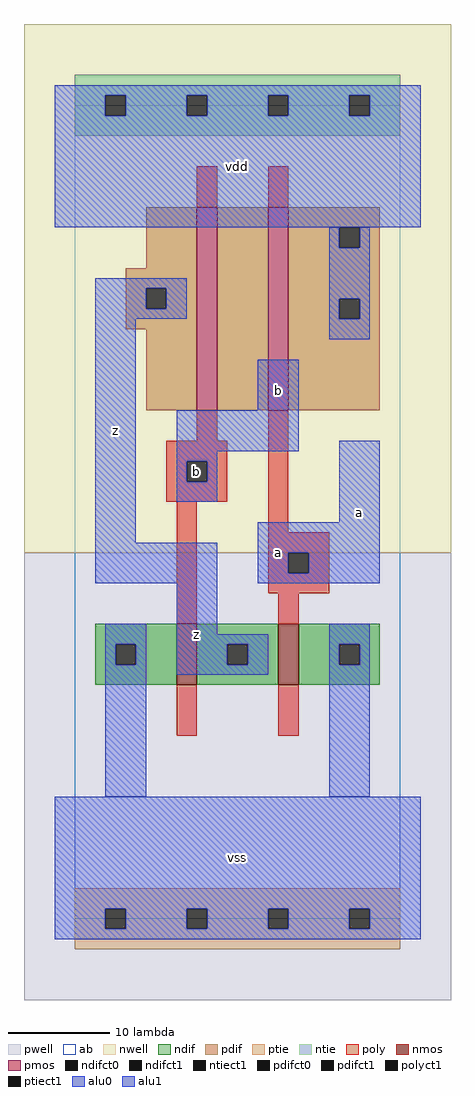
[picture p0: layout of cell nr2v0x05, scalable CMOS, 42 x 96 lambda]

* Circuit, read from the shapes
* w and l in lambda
.subckt nr2v0x05 a b vdd vss z
M1 z b vss vss nfet w=6 l=2
M2 vss a z vss nfet w=6 l=2
M3 n1 b z vdd pfet w=20 l=2
M4 vdd a n1 vdd pfet w=20 l=2
.ends

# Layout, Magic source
magic
tech scmos
<< ab >>
rect 0 0 32 80
<< nwell >>
rect -5 36 37 88
<< pwell >>
rect -5 -8 37 36
<< poly >>
rect 12 70 14 74
rect 19 70 21 74
rect 12 47 14 50
rect 9 45 15 47
rect 9 43 11 45
rect 13 43 15 45
rect 9 41 15 43
rect 10 29 12 41
rect 19 38 21 50
rect 19 36 25 38
rect 19 34 21 36
rect 23 34 25 36
rect 19 32 25 34
rect 20 29 22 32
rect 10 18 12 23
rect 20 18 22 23
<< ndif >>
rect 2 27 10 29
rect 2 25 4 27
rect 6 25 10 27
rect 2 23 10 25
rect 12 27 20 29
rect 12 25 15 27
rect 17 25 20 27
rect 12 23 20 25
rect 22 27 30 29
rect 22 25 26 27
rect 28 25 30 27
rect 22 23 30 25
<< pdif >>
rect 7 64 12 70
rect 5 62 12 64
rect 5 60 7 62
rect 9 60 12 62
rect 5 58 12 60
rect 7 50 12 58
rect 14 50 19 70
rect 21 68 30 70
rect 21 66 26 68
rect 28 66 30 68
rect 21 61 30 66
rect 21 59 26 61
rect 28 59 30 61
rect 21 50 30 59
<< alu1 >>
rect -2 81 34 82
rect -2 79 3 81
rect 5 79 11 81
rect 13 79 19 81
rect 21 79 27 81
rect 29 79 34 81
rect -2 68 34 79
rect 2 62 11 63
rect 2 60 7 62
rect 9 60 11 62
rect 2 59 11 60
rect 2 37 6 59
rect 18 50 22 55
rect 10 46 22 50
rect 10 45 14 46
rect 10 43 11 45
rect 13 43 14 45
rect 10 41 14 43
rect 26 39 30 47
rect 2 33 14 37
rect 18 36 30 39
rect 18 34 21 36
rect 23 34 30 36
rect 18 33 30 34
rect 10 28 14 33
rect 10 27 19 28
rect 10 25 15 27
rect 17 25 19 27
rect 10 24 19 25
rect -2 1 34 12
rect -2 -1 3 1
rect 5 -1 11 1
rect 13 -1 19 1
rect 21 -1 27 1
rect 29 -1 34 1
rect -2 -2 34 -1
<< ptie >>
rect 0 1 32 3
rect 0 -1 3 1
rect 5 -1 11 1
rect 13 -1 19 1
rect 21 -1 27 1
rect 29 -1 32 1
rect 0 -3 32 -1
<< ntie >>
rect 0 81 32 83
rect 0 79 3 81
rect 5 79 11 81
rect 13 79 19 81
rect 21 79 27 81
rect 29 79 32 81
rect 0 77 32 79
<< nmos >>
rect 10 23 12 29
rect 20 23 22 29
<< pmos >>
rect 12 50 14 70
rect 19 50 21 70
<< polyct1 >>
rect 11 43 13 45
rect 21 34 23 36
<< ndifct0 >>
rect 4 25 6 27
rect 26 25 28 27
<< ndifct1 >>
rect 15 25 17 27
<< ntiect1 >>
rect 3 79 5 81
rect 11 79 13 81
rect 19 79 21 81
rect 27 79 29 81
<< ptiect1 >>
rect 3 -1 5 1
rect 11 -1 13 1
rect 19 -1 21 1
rect 27 -1 29 1
<< pdifct0 >>
rect 26 66 28 68
rect 26 59 28 61
<< pdifct1 >>
rect 7 60 9 62
<< alu0 >>
rect 25 66 26 68
rect 28 66 29 68
rect 25 61 29 66
rect 25 59 26 61
rect 28 59 29 61
rect 25 57 29 59
rect 3 27 7 29
rect 3 25 4 27
rect 6 25 7 27
rect 3 12 7 25
rect 25 27 29 29
rect 25 25 26 27
rect 28 25 29 27
rect 25 12 29 25
<< labels >>
rlabel alu1 4 48 4 48 6 z
rlabel alu1 12 28 12 28 6 z
rlabel polyct1 12 44 12 44 6 b
rlabel alu1 16 6 16 6 6 vss
rlabel alu1 20 36 20 36 6 a
rlabel alu1 20 52 20 52 6 b
rlabel alu1 16 74 16 74 6 vdd
rlabel alu1 28 40 28 40 6 a
<< end >>
